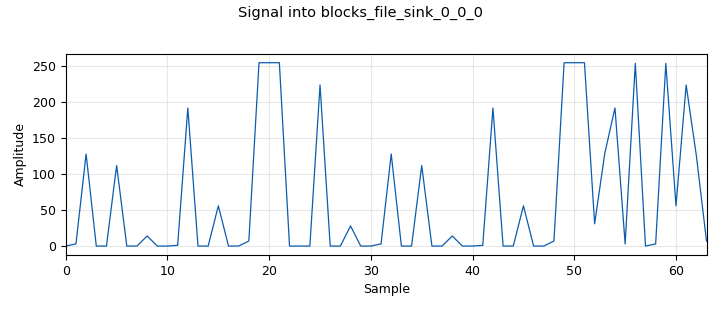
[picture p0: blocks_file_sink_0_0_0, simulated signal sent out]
options:
  parameters:
    author: root
    generate_options: no_gui
    id: encoder_test_2
    output_language: python
    run_options: run
    title: Not titled yet
  states: {}

blocks:
- name: dec_cc
  id: variable_cc_decoder_def
  parameters:
    framebits: '8000'
    k: k
    mode: fec.CC_TERMINATED
    ndim: '0'
    padding: 'False'
    polys: polys
    rate: rate
    state_end: '-1'
    state_start: '0'
  states: {state: disabled}
- name: dec_dummy
  id: variable_dummy_decoder_def
  parameters:
    framebits: '8000'
    ndim: '0'
  states: {state: disabled}
- name: dec_rep
  id: variable_repetition_decoder_def
  parameters:
    framebits: '8000'
    ndim: '0'
    prob: '0.5'
    rep: rep
  states: {}
- name: enc_cc
  id: variable_cc_encoder_def
  parameters:
    framebits: '8000'
    k: k
    mode: fec.CC_TERMINATED
    ndim: '0'
    padding: 'False'
    polys: polys
    rate: rate
    state_start: '0'
  states: {state: disabled}
- name: enc_ccsds
  id: variable_ccsds_encoder_def
  parameters:
    comment: When using CCSDS encoder, turn Rev. Unpacking to Off/False in the Async Decoder
    framebits: '8000'
    mode: fec.CC_TERMINATED
    ndim: '0'
    state_start: '0'
  states: {state: disabled}
- name: enc_dummy
  id: variable_dummy_encoder_def
  parameters:
    framebits: '8000'
    ndim: '0'
  states: {state: disabled}
- name: enc_rep
  id: variable_repetition_encoder_def
  parameters:
    framebits: '8000'
    ndim: '0'
    rep: rep
  states: {}
- name: k
  id: variable
  parameters:
    value: '7'
  states: {}
- name: polys
  id: variable
  parameters:
    value: '[109, 79]'
  states: {}
- name: rate
  id: variable
  parameters:
    value: '2'
  states: {}
- name: rep
  id: variable
  parameters:
    value: '3'
  states: {}
- name: analog_random_source_x_0
  id: analog_random_source_x
  parameters:
    max: '256'
    min: '0'
    num_samps: '1000'
    repeat: 'True'
    type: byte
  states: {state: disabled}
- name: blocks_char_to_float_0_1
  id: blocks_char_to_float
  parameters:
    scale: '1'
  states: {}
- name: blocks_ctrlport_monitor_performance_0
  id: blocks_ctrlport_monitor_performance
  parameters:
    en: 'True'
  states: {state: disabled}
- name: blocks_file_sink_0_0
  id: blocks_file_sink
  parameters:
    file: /root/repos/usrp-utils/archive/post_decoder.bin
    type: byte
    unbuffered: 'True'
  states: {}
- name: blocks_file_sink_0_0_0
  id: blocks_file_sink
  parameters:
    file: /root/repos/usrp-utils/archive/post_encoder.bin
    type: byte
    unbuffered: 'True'
  states: {}
- name: blocks_file_sink_0_0_0_0_0
  id: blocks_file_sink
  parameters:
    file: /root/repos/usrp-utils/archive/pre_crc.bin
    type: byte
    unbuffered: 'True'
  states: {}
- name: blocks_file_sink_0_0_0_0_0_0
  id: blocks_file_sink
  parameters:
    file: /root/repos/usrp-utils/archive/post_crc.bin
    type: byte
    unbuffered: 'True'
  states: {}
- name: blocks_file_sink_0_0_0_0_0_0_0
  id: blocks_file_sink
  parameters:
    file: /root/repos/usrp-utils/archive/post_repack.bin
    type: byte
    unbuffered: 'True'
  states: {}
- name: blocks_file_sink_0_0_0_0_0_0_0_0
  id: blocks_file_sink
  parameters:
    file: /root/repos/usrp-utils/archive/post_map.bin
    type: byte
    unbuffered: 'True'
  states: {}
- name: blocks_file_sink_0_0_1
  id: blocks_file_sink
  parameters:
    file: /root/repos/usrp-utils/archive/post_crc_check.bin
    type: byte
    unbuffered: 'True'
  states: {}
- name: blocks_pdu_to_tagged_stream_0
  id: blocks_pdu_to_tagged_stream
  parameters:
    tag: pkt_len
    type: byte
  states: {}
- name: blocks_pdu_to_tagged_stream_0_0
  id: blocks_pdu_to_tagged_stream
  parameters:
    tag: pkt_len
    type: byte
  states: {}
- name: blocks_repack_bits_bb_0
  id: blocks_repack_bits_bb
  parameters:
    align_output: 'True'
    endianness: gr.GR_LSB_FIRST
    k: '8'
    l: '1'
    len_tag_key: pkt_len
  states: {state: bypassed}
- name: blocks_stream_to_tagged_stream_0_0
  id: blocks_stream_to_tagged_stream
  parameters:
    len_tag_key: pkt_len
    packet_len: frame_size
    type: byte
  states: {}
- name: blocks_tagged_stream_to_pdu_0
  id: blocks_tagged_stream_to_pdu
  parameters:
    tag: pkt_len
    type: byte
  states: {}
- name: blocks_tagged_stream_to_pdu_1
  id: blocks_tagged_stream_to_pdu
  parameters:
    tag: pkt_len
    type: float
  states: {}
- name: blocks_throttle_0
  id: blocks_throttle
  parameters:
    samples_per_second: samp_rate
    type: byte
  states: {state: bypassed}
- name: blocks_vector_source_x_0_1_0
  id: blocks_vector_source_x
  parameters:
    repeat: 'False'
    type: byte
    vector: (frame_size//10)*[0,1,2,4,8,16,32,64,128,255]
  states: {}
- name: digital_crc32_bb_0_0
  id: digital_crc32_bb
  parameters:
    check: 'False'
    lengthtagname: pkt_len
    packed: 'True'
  states: {}
- name: digital_crc32_bb_0_0_0
  id: digital_crc32_bb
  parameters:
    check: 'True'
    lengthtagname: pkt_len
    packed: 'True'
  states: {}
- name: digital_map_bb_0
  id: digital_map_bb
  parameters:
    map: '[-1,1]'
  states: {state: bypassed}
- name: fec_async_decoder_0
  id: fec_async_decoder
  parameters:
    decoder: dec_rep
    mtu: '1500'
    packed: 'True'
    rev_pack: 'False'
  states: {}
- name: fec_async_encoder_0
  id: fec_async_encoder
  parameters:
    encoder: enc_rep
    mtu: '1500'
    packed: 'True'
    rev_pack: 'False'
  states: {}
- name: frame_size
  id: parameter
  parameters:
    label: Frame Size
    type: intx
    value: '30'
  states: {}
- name: note_ccsds
  id: note
  parameters:
    note: When using CCSDS encoder, turn Rev. Unpacking to Off/False in the Async Decoder
  states: {state: disabled}
- name: puncpat
  id: parameter
  parameters:
    value: '''11'''
  states: {}

connections:
- [analog_random_source_x_0, '0', blocks_throttle_0, '0']
- [blocks_char_to_float_0_1, '0', blocks_tagged_stream_to_pdu_1, '0']
- [blocks_pdu_to_tagged_stream_0, '0', blocks_file_sink_0_0_0, '0']
- [blocks_pdu_to_tagged_stream_0, '0', blocks_repack_bits_bb_0, '0']
- [blocks_pdu_to_tagged_stream_0_0, '0', blocks_file_sink_0_0, '0']
- [blocks_pdu_to_tagged_stream_0_0, '0', digital_crc32_bb_0_0_0, '0']
- [blocks_repack_bits_bb_0, '0', blocks_file_sink_0_0_0_0_0_0_0, '0']
- [blocks_repack_bits_bb_0, '0', digital_map_bb_0, '0']
- [blocks_stream_to_tagged_stream_0_0, '0', blocks_file_sink_0_0_0_0_0, '0']
- [blocks_stream_to_tagged_stream_0_0, '0', digital_crc32_bb_0_0, '0']
- [blocks_tagged_stream_to_pdu_0, pdus, fec_async_encoder_0, in]
- [blocks_tagged_stream_to_pdu_1, pdus, fec_async_decoder_0, in]
- [blocks_throttle_0, '0', blocks_stream_to_tagged_stream_0_0, '0']
- [blocks_vector_source_x_0_1_0, '0', blocks_throttle_0, '0']
- [digital_crc32_bb_0_0, '0', blocks_file_sink_0_0_0_0_0_0, '0']
- [digital_crc32_bb_0_0, '0', blocks_tagged_stream_to_pdu_0, '0']
- [digital_crc32_bb_0_0_0, '0', blocks_file_sink_0_0_1, '0']
- [digital_map_bb_0, '0', blocks_char_to_float_0_1, '0']
- [digital_map_bb_0, '0', blocks_file_sink_0_0_0_0_0_0_0_0, '0']
- [fec_async_decoder_0, out, blocks_pdu_to_tagged_stream_0_0, pdus]
- [fec_async_encoder_0, out, blocks_pdu_to_tagged_stream_0, pdus]

metadata:
  file_format: 1
